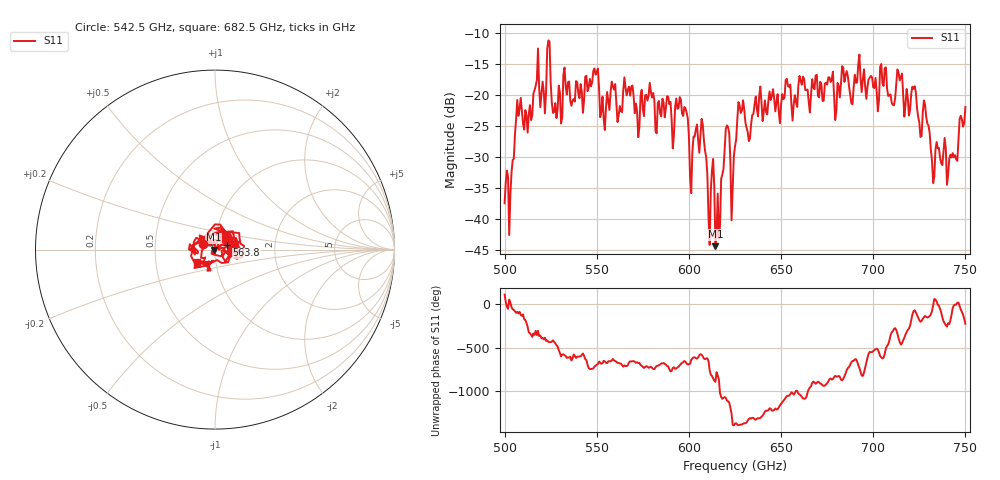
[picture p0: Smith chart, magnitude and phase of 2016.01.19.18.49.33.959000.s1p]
!Created with skrf (http://scikit-rf.org).
# GHz S RI R 50.0
!freq ReS11 ImS11
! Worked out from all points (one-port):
!   401 points, 500 GHz to 750 GHz, reference 50 ohm
!   lowest |S11| = -44.4 dB at 614.4 GHz (marker M1), VSWR 1.01, Z = 49.4 - j0.115 ohm
!   |S11| at or under -10 dB: start of sweep to end of sweep
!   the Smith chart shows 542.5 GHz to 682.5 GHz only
!   S11 on the Smith chart (normalised r, x): 542.5 GHz: 0.88, +0.05; 563.8 GHz: 1.14, +0.06; 682.5 GHz: 0.81, -0.12
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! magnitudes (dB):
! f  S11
! 500 GHz  -37.5
! 503.8 GHz  -32.5
! 507.5 GHz  -23.4
! 523.8 GHz  -11.2
! 526.9 GHz  -22.7
! 531.2 GHz  -23.6
! 542.5 GHz  -22.9
! 549.4 GHz  -16.7
! 553.1 GHz  -20.3
! 562.5 GHz  -21.8
! 563.8 GHz  -22.8
! 593.8 GHz  -22.2
! 601.2 GHz  -35.8
! 607.5 GHz  -24.7
! 610.6 GHz  -39.7
! 614.4 GHz  -44.4
! 615.6 GHz  -35.9
! 620.6 GHz  -24.9
! 623.8 GHz  -34.9
! 625 GHz  -28.3
! 628.1 GHz  -22.9
! 656.2 GHz  -24.2
! 682.5 GHz  -18.2
! 687.5 GHz  -20.0
! 718.8 GHz  -20.5
! 728.8 GHz  -23.6
! 732.5 GHz  -34.2
! 750 GHz  -22.0
